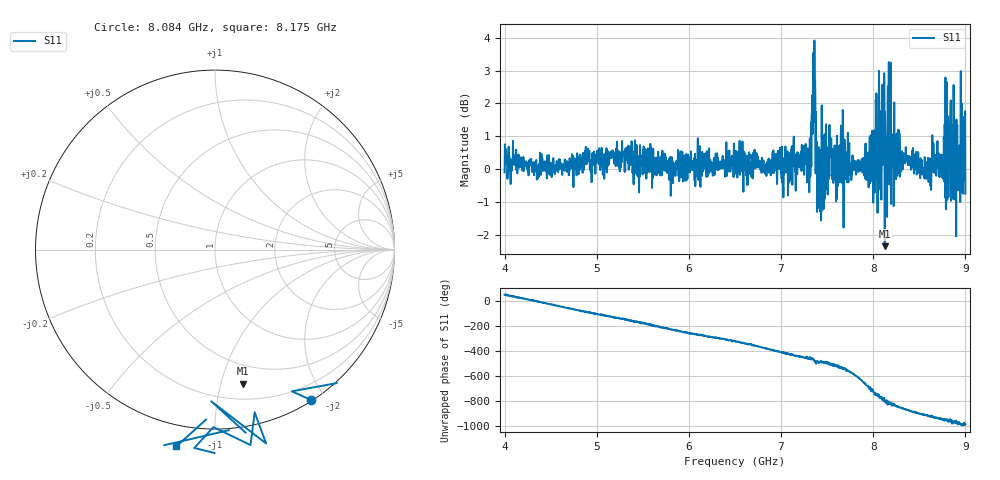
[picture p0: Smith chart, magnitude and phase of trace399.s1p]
! Created with skrf 1.8.0 (http://scikit-rf.org).
# Hz S RI R 50.0
!freq ReS11 ImS11
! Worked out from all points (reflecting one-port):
!   1601 points, 4 GHz to 9 GHz, reference 50 ohm
!   lowest |S11| = -2.4 dB at 8.125 GHz (marker M1), VSWR 7.44, Z = 16.4 - j58.6 ohm
!   phase of S11 starts at 52 deg and turns -1043 deg over the sweep
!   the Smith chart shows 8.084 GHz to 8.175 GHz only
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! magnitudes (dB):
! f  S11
! 4 GHz  -0.1
! 4.625 GHz  -0.2
! 5.25 GHz  -0.1
! 5.875 GHz  0.0
! 6.5 GHz  0.2
! 7.125 GHz  0.3
! 7.297 GHz  0.3
! 7.356 GHz  2.4
! 7.412 GHz  -1.2
! 7.438 GHz  -0.7
! 7.512 GHz  0.7
! 7.609 GHz  -0.5
! 7.65 GHz  1.3
! 7.75 GHz  -0.2
! 7.934 GHz  -0.2
! 8 GHz  -1.0
! 8.053 GHz  0.3
! 8.066 GHz  1.0
! 8.097 GHz  0.8
! 8.125 GHz  -2.4
! 8.216 GHz  1.0
! 8.375 GHz  0.3
! 8.606 GHz  -0.3
! 8.766 GHz  1.0
! 8.819 GHz  0.0
! 8.919 GHz  -0.6
! 8.972 GHz  0.3
! 9 GHz  -0.8
